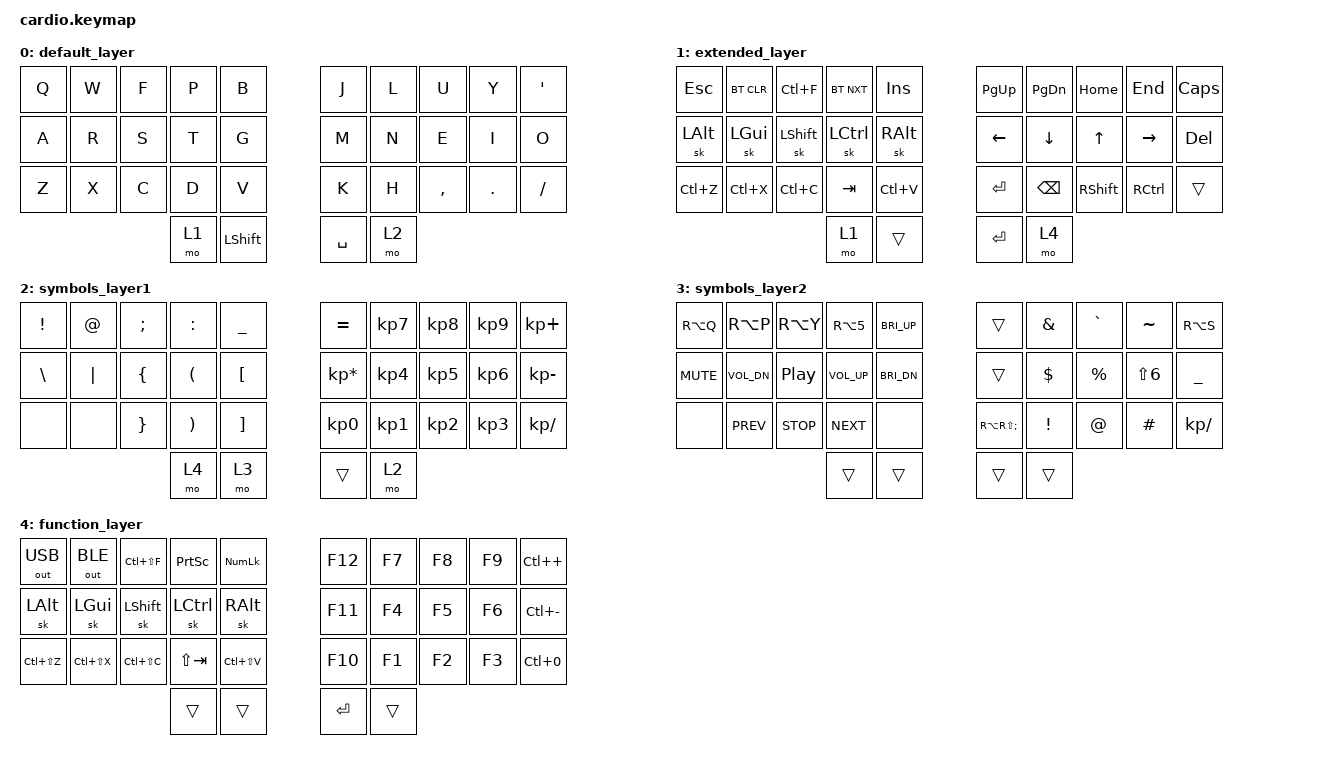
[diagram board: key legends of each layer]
/*
 * Copyright (c) 2020 The ZMK Contributors
 *
 * SPDX-License-Identifier: MIT
 */

#include <behaviors.dtsi>
#include <dt-bindings/zmk/keys.h>
#include <dt-bindings/zmk/bt.h>
#include <dt-bindings/zmk/outputs.h>

#define DEF     0
#define EXT     1
#define SYM1    2
#define SYM2    3
#define FUNC    4

/ {
    // combos {
    // };

    keymap {
        compatible = "zmk,keymap";

        default_layer {
            bindings = <
  &kp Q   &kp W   &kp F   &kp P      &kp B      &kp J   &kp L      &kp U    &kp Y    &kp SQT
  &kp A   &kp R   &kp S   &kp T      &kp G      &kp M   &kp N      &kp E    &kp I      &kp O
  &kp Z   &kp X   &kp C   &kp D      &kp V      &kp K   &kp H  &kp COMMA  &kp DOT  &kp SLASH
                          &mo 1  &kp LSHFT  &kp SPACE   &mo 2
            >;
        };

        extended_layer {
            bindings = <
   &kp ESC  &bt BT_CLR  &kp LC(F)  &bt BT_NXT    &kp INS  &kp PAGE_UP  &kp PAGE_DOWN   &kp HOME    &kp END  &kp CAPS
  &sk LALT    &sk LGUI  &sk LSHFT   &sk LCTRL   &sk RALT     &kp LEFT       &kp DOWN     &kp UP  &kp RIGHT   &kp DEL
 &kp LC(Z)   &kp LC(X)  &kp LC(C)     &kp TAB  &kp LC(V)      &kp RET  &kp BACKSPACE  &kp RSHFT  &kp RCTRL    &trans
                                        &mo 1     &trans      &kp RET          &mo 4
            >;
        };

        symbols_layer1 {
            bindings = <
 &kp EXCL    &kp AT  &kp SEMI  &kp COLON  &kp UNDER        &kp EQUAL  &kp KP_NUMBER_7  &kp KP_NUMBER_8  &kp KP_NUMBER_9    &kp KP_PLUS
 &kp BSLH  &kp PIPE  &kp LBRC   &kp LPAR   &kp LBKT  &kp KP_MULTIPLY  &kp KP_NUMBER_4  &kp KP_NUMBER_5  &kp KP_NUMBER_6   &kp KP_MINUS
    &none     &none  &kp RBRC   &kp RPAR   &kp RBKT  &kp KP_NUMBER_0  &kp KP_NUMBER_1  &kp KP_NUMBER_2  &kp KP_NUMBER_3  &kp KP_DIVIDE
                                   &mo 4      &mo 3           &trans            &mo 2
            >;
        };

        symbols_layer2 {
            bindings = <
  &kp RA(Q)     &kp RA(P)   &kp RA(Y)  &kp RA(NUMBER_5)  &kp C_BRI_UP            &trans    &kp AMPS    &kp GRAVE         &kp TILDE      &kp RA(S)
 &kp C_MUTE  &kp C_VOL_DN    &kp C_PP      &kp C_VOL_UP  &kp C_BRI_DN            &trans  &kp DOLLAR  &kp PERCENT  &kp LS(NUMBER_6)      &kp UNDER
      &none    &kp C_PREV  &kp C_STOP        &kp C_NEXT         &none  &kp RA(RS(SEMI))    &kp EXCL       &kp AT          &kp HASH  &kp KP_DIVIDE
                                                 &trans        &trans            &trans      &trans
            >;
        };

        function_layer {
            bindings = <
  &out OUT_USB   &out OUT_BLE  &kp LC(LS(F))    &kp PSCRN  &kp KP_NUMLOCK  &kp F12  &kp F7  &kp F8  &kp F9      &kp LC(PLUS)
      &sk LALT       &sk LGUI      &sk LSHFT    &sk LCTRL        &sk RALT  &kp F11  &kp F4  &kp F5  &kp F6     &kp LC(MINUS)
 &kp LC(LS(Z))  &kp LC(LS(X))  &kp LC(LS(C))  &kp LS(TAB)   &kp LC(LS(V))  &kp F10  &kp F1  &kp F2  &kp F3  &kp LC(NUMBER_0)
                                                   &trans          &trans  &kp RET  &trans
            >;
        };
    };
};
